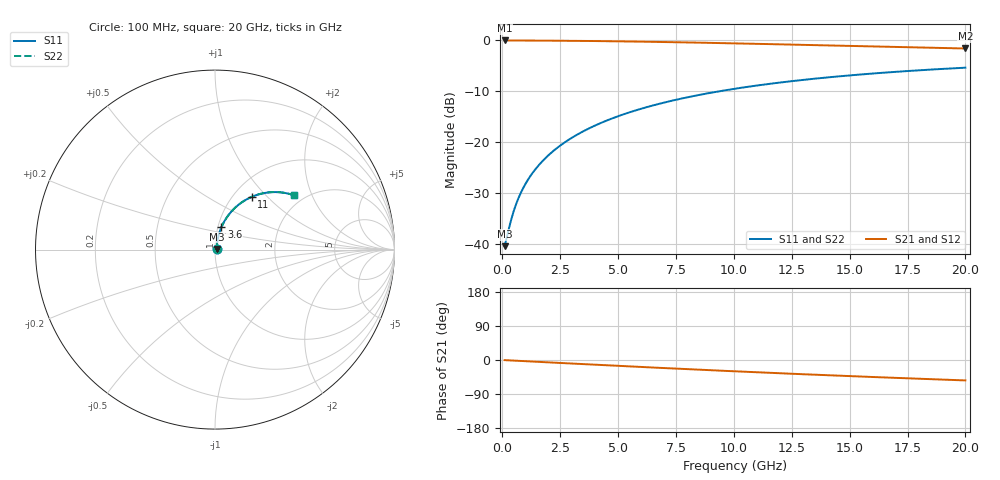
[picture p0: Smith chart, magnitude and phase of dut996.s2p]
! Touchstone file exported from HFSS 2026.1.0
!  File:  C:/ffzhzh/LocalFiles/Ansys_Project_Files/temp_train_TMRDL_996_1783159441_51560.aedt
!  Generated:  06:05:15 PM Jul  4, 2026
!  Design:  TMRDL
!  Project:  temp_train_TMRDL_996_1783159441_51560
! Variables:
!  h_bsmrdl = 2um
!  h_ox = 20um
!  h_rdl = 5um
!  h_sub = 80um
!  h_tmrdl = 2.85um
!  h_tsv = 80um
!  h_via = 3um
!  l_bsmrdl = 300um
!  l_sub = 1195.11um
!  l_tmrdl = 795.11um
!  m_sub = 200um
!  pitch = 36.16um
!  r_tsv = 6um
!  s_tmrdl = 10um
!  w_bsmrdl = 18um
!  w_sub = 500um
!  w_tmrdl = 11.36um
!  x_tsv_center1 = 800.79um
!  x_tsv_center2 = 1118.79um
!  x_tsv_center3 = 1925.26um
!  x_tsv_center4 = 2243.26um
!  x_tsv_center5 = 3049.73um
!  x_tsv_center6 = 3367.73um
# GHz S MA R 50.000000
! Terminal data exported
! Port[1] = TM_RDL1_1_T1
! Port[2] = TM_RDL1_1_T2
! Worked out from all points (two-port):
!   200 points, 100 MHz to 20 GHz, reference 50 ohm
!   highest |S21| = -0.08 dB at 100 MHz (marker M1); lowest = -1.7 dB at 20 GHz (marker M2)
!   |S21| within 3 dB of the highest: start of sweep to end of sweep
!   lowest |S11| = -40.5 dB at 100 MHz (marker M3), VSWR 1.02, Z = 50.9 + j0.39 ohm
!   |S11| at or under -10 dB: start of sweep to 9.447 GHz
!   |S22| runs from -40.5 to -5.4 dB; largest |S21 - S12| = 4.3e-15
!   S11 on the Smith chart (normalised r, x): 100 MHz: 1.02, +0.01; 3.6 GHz: 1.04, +0.27; 11 GHz: 1.21, +0.82; 20 GHz: 1.78, +1.50
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0.1  0.009464 23.9  0.9914 -0.3  0.9914 -0.3  0.009464 23.9
! Gamma 0 0 0 0
! Port Impedance 50 0 50 0
0.4  0.01777 58.4  0.9909 -1.3  0.9909 -1.3  0.01777 58.4
0.6  0.0246 66.0  0.9905 -1.9  0.9905 -1.9  0.0246 66.0
0.7  0.0281 68.3  0.9903 -2.2  0.9903 -2.2  0.02809 68.3
0.9  0.03513 71.3  0.9898 -2.9  0.9898 -2.9  0.03513 71.3
1.2  0.04575 73.7  0.9891 -3.8  0.9891 -3.8  0.04575 73.7
1.4  0.05285 74.7  0.9887 -4.4  0.9887 -4.4  0.05285 74.7
1.7  0.06352 75.4  0.9879 -5.3  0.9879 -5.3  0.06352 75.4
2.2  0.08132 75.7  0.9863 -6.9  0.9863 -6.9  0.08132 75.8
2.8  0.1026 75.3  0.9841 -8.7  0.9841 -8.7  0.1026 75.3
3.5  0.1272 74.2  0.9809 -10.9  0.9809 -10.9  0.1272 74.2
3.6  0.1307 74.0  0.9804 -11.2  0.9804 -11.2  0.1307 74.0
4.3  0.1549 72.5  0.9766 -13.3  0.9766 -13.3  0.1549 72.5
5  0.1787 70.8  0.9722 -15.4  0.9722 -15.4  0.1787 70.8
5.9  0.2085 68.5  0.9658 -18.1  0.9658 -18.1  0.2085 68.5
6.8  0.2374 66.2  0.9586 -20.7  0.9586 -20.7  0.2374 66.2
8.3  0.2832 62.2  0.9453 -25.0  0.9453 -25.0  0.2833 62.2
10.1  0.3342 57.5  0.9277 -30.0  0.9277 -30.0  0.3342 57.5
11  0.358 55.1  0.9184 -32.4  0.9184 -32.4  0.358 55.2
13.4  0.4157 49.2  0.8931 -38.6  0.8931 -38.6  0.4157 49.2
16.7  0.4824 41.4  0.8585 -46.5  0.8585 -46.5  0.4824 41.5
20  0.5356 34.3  0.8266 -53.9  0.8266 -53.9  0.5357 34.3
